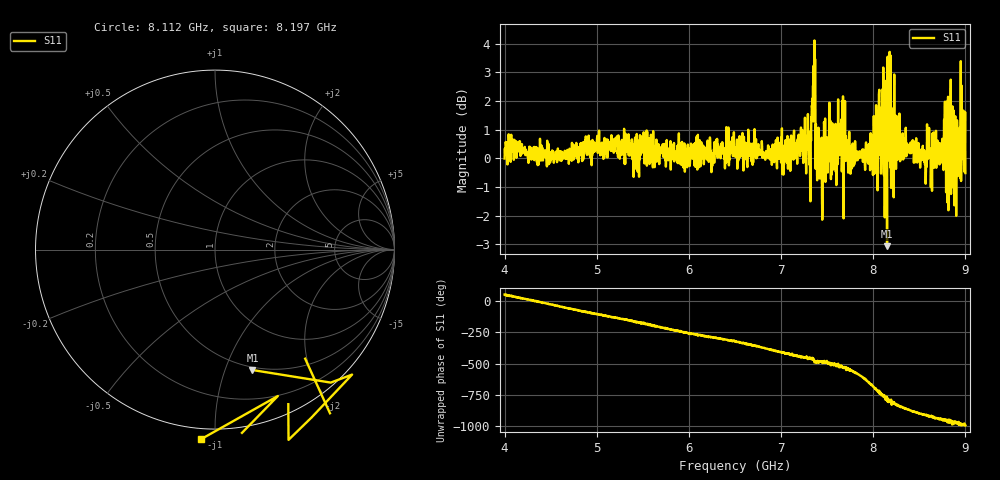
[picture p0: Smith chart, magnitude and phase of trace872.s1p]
! Created with skrf 1.8.0 (http://scikit-rf.org).
# Hz S RI R 50.0
!freq ReS11 ImS11
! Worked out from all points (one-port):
!   1601 points, 4 GHz to 9 GHz, reference 50 ohm
!   lowest |S11| = -3.1 dB at 8.15 GHz (marker M1), VSWR 5.72, Z = 23.5 - j62.3 ohm
!   |S11| at or under -10 dB: nowhere
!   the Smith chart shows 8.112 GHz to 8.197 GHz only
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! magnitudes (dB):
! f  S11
! 4 GHz  0.0
! 4.625 GHz  0.0
! 5.25 GHz  0.0
! 5.875 GHz  0.4
! 6.5 GHz  0.2
! 7.125 GHz  0.0
! 7.269 GHz  0.5
! 7.294 GHz  0.8
! 7.325 GHz  0.6
! 7.347 GHz  2.5
! 7.378 GHz  1.2
! 7.4 GHz  0.5
! 7.428 GHz  0.0
! 7.509 GHz  0.3
! 7.591 GHz  1.2
! 7.65 GHz  1.2
! 7.75 GHz  0.4
! 8.022 GHz  0.4
! 8.084 GHz  -0.5
! 8.15 GHz  -3.1
! 8.178 GHz  3.7
! 8.216 GHz  1.7
! 8.375 GHz  0.5
! 8.556 GHz  -0.1
! 8.788 GHz  0.4
! 8.919 GHz  -0.6
! 8.972 GHz  0.4
! 9 GHz  -0.5
